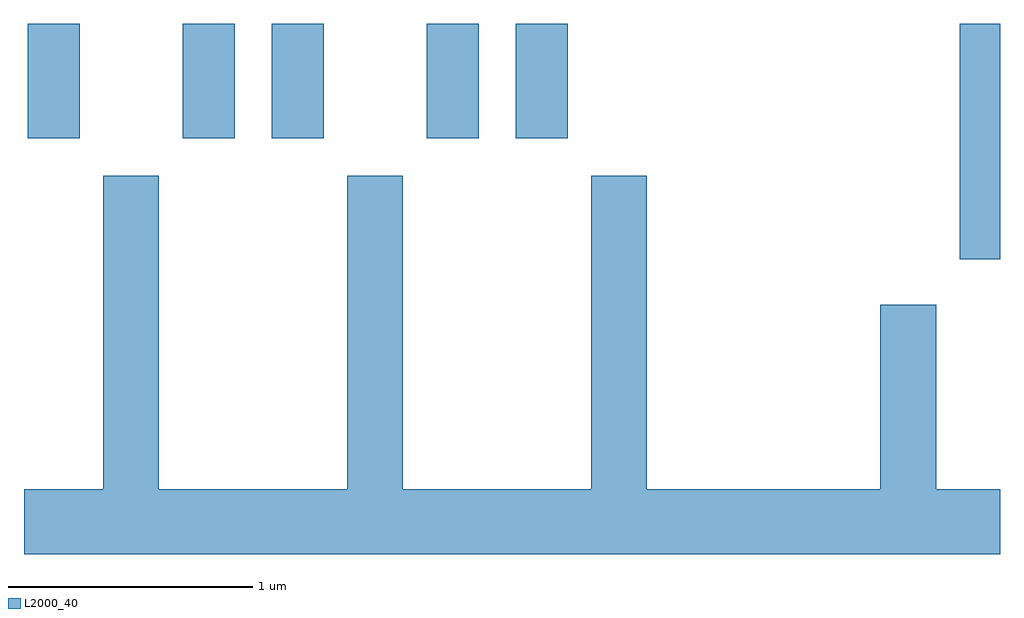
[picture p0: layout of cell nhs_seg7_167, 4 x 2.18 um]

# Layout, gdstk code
import gdstk
lib = gdstk.Library(unit=1e-6, precision=1e-09)
def R(c, l, rs):  # rectangles x0, y0, x1, y1
    for r in rs: c.add(gdstk.rectangle(r[:2], r[2:], *l))
def P(c, l, *ps):  # polygons
    for p in ps: c.add(gdstk.Polygon(p, *l))
L2000_40 = (2000, 40)

nhs_seg7_167 = lib.new_cell('nhs_seg7_167')
R(nhs_seg7_167, L2000_40, [(193.446,1733.286,193.611,1734.252), (189.626,1733.781,189.839,1734.252), (190.261,1733.781,190.474,1734.252), (190.626,1733.781,190.839,1734.252), (191.261,1733.781,191.474,1734.252), (191.626,1733.781,191.839,1734.252)])
P(nhs_seg7_167, L2000_40, [(193.611,1732.344),(193.349,1732.344),(193.349,1733.099),(193.121,1733.099),(193.121,1732.344),(192.164,1732.344),(192.164,1733.629),(191.936,1733.629),(191.936,1732.344),(191.164,1732.344),(191.164,1733.629),(190.936,1733.629),(190.936,1732.344),(190.164,1732.344),(190.164,1733.629),(189.936,1733.629),(189.936,1732.344),(189.611,1732.344),(189.611,1732.076),(193.611,1732.076)])

lib.write_gds('nhs_seg7_167.gds')
